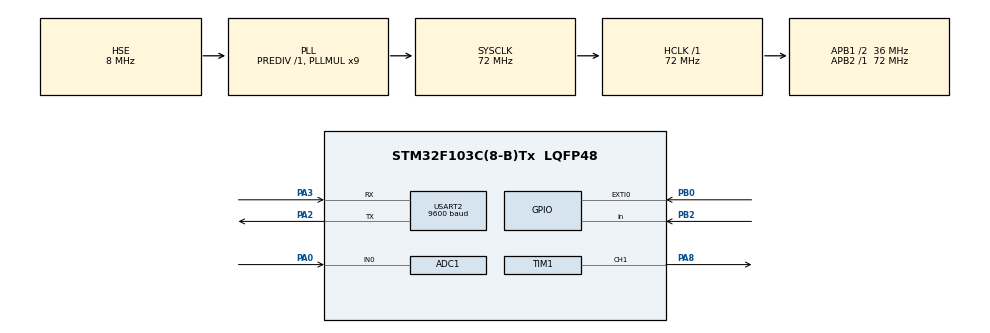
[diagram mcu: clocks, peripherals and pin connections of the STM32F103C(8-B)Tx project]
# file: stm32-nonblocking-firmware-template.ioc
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ADC1.Channel-1\#ChannelRegularConversion=ADC_CHANNEL_0
ADC1.NbrOfConversionFlag=1
ADC1.Rank-1\#ChannelRegularConversion=1
ADC1.SamplingTime-1\#ChannelRegularConversion=ADC_SAMPLETIME_1CYCLE_5
ADC1.master=1
Mcu.Family=STM32F1
Mcu.Name=STM32F103C(8-B)Tx
Mcu.Package=LQFP48
NVIC.ADC1_2_IRQn=true\:0\:0\:false\:false\:true\:true\:true\:true
NVIC.PriorityGroup=NVIC_PRIORITYGROUP_4
NVIC.USART2_IRQn=true\:0\:0\:false\:false\:true\:true\:true\:true
PA0-WKUP.Signal=ADCx_IN0
PA13.Mode=Serial_Wire
PA13.Signal=SYS_JTMS-SWDIO
PA14.Mode=Serial_Wire
PA14.Signal=SYS_JTCK-SWCLK
PA2.Mode=Asynchronous
PA2.Signal=USART2_TX
PA3.Mode=Asynchronous
PA3.Signal=USART2_RX
PA8.Signal=S_TIM1_CH1
PB0.GPIO_ModeDefaultEXTI=GPIO_MODE_IT_FALLING
PB0.GPIO_PuPd=GPIO_PULLUP
PB0.Signal=GPXTI0
PB2.GPIO_PuPd=GPIO_PULLUP
PB2.Signal=GPIO_Input
PD0-OSC_IN.Mode=HSE-External-Oscillator
PD0-OSC_IN.Signal=RCC_OSC_IN
PD1-OSC_OUT.Mode=HSE-External-Oscillator
PD1-OSC_OUT.Signal=RCC_OSC_OUT
ProjectManager.HeapSize=0x200
ProjectManager.StackSize=0x400
ProjectManager.TargetToolchain=STM32CubeIDE
RCC.ADCPresc=RCC_ADCPCLK2_DIV6
RCC.AHBFreq_Value=72000000
RCC.APB1CLKDivider=RCC_HCLK_DIV2
RCC.APB1Freq_Value=36000000
RCC.APB1TimFreq_Value=72000000
RCC.APB2Freq_Value=72000000
RCC.APB2TimFreq_Value=72000000
RCC.HCLKFreq_Value=72000000
RCC.PLLMUL=RCC_PLL_MUL9
RCC.PLLSourceVirtual=RCC_PLLSOURCE_HSE
RCC.SYSCLKFreq_VALUE=72000000
RCC.SYSCLKSource=RCC_SYSCLKSOURCE_PLLCLK
RCC.USBFreq_Value=72000000
SH.ADCx_IN0.0=ADC1_IN0,IN0
SH.S_TIM1_CH1.0=TIM1_CH1,PWM Generation1 CH1
TIM1.Channel-PWM\ Generation1\ CH1=TIM_CHANNEL_1
TIM1.Period=255
TIM1.Prescaler=55
TIM1.Pulse-PWM\ Generation1\ CH1=128
USART2.BaudRate=9600
USART2.VirtualMode=VM_ASYNC
VP_TIM1_VS_ClockSourceINT.Mode=Internal
board=custom

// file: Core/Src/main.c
/* USER CODE BEGIN Header */
/**
  ******************************************************************************
  * @file           : main.c
  * @brief          : Main program body
  ******************************************************************************
  * @attention
  *
  * Copyright (c) 2026 STMicroelectronics.
  * All rights reserved.
  *
  * This software is licensed under terms that can be found in the LICENSE file
  * in the root directory of this software component.
  * If no LICENSE file comes with this software, it is provided AS-IS.
  *
  ******************************************************************************
  */
/* USER CODE END Header */
#include "main.h"

/* USER CODE BEGIN PD */
/* Конфігурація циклічного буфера UART */
#define BUFFER_SIZE         20

/* Налаштування періодів відправки по UART (у мілісекундах) */
#define TX_PERIOD_NORMAL    1000  // Нормальний режим: 1 раз на секунду
#define TX_PERIOD_FAST      500   // Прискорений режим: 2 рази на секунду

/* Конфігурація адрес Flash-пам'яті */
#define FLASH_READ_ADDR_1   0x0800FC00
#define FLASH_READ_ADDR_2   0x0800FC01
#define FLASH_ERASE_PAGE    0x0800FC00  // Для F1 це початок 63-ї сторінки
#define FLASH_WRITE_ADDR    0x0800FC02
#define FLASH_DATA_TO_WRITE 0xEEAA      // Об'єднані байти 0xAA та 0xEE
/* USER CODE END PD */

ADC_HandleTypeDef hadc1;

TIM_HandleTypeDef htim1;

UART_HandleTypeDef huart2;

/* USER CODE BEGIN PV */
// Оголошуємо глобальні змінні для зберігання зчитаних байтів
uint8_t flash_val1 = 0;
uint8_t flash_val2 = 0;

volatile uint8_t rx_buffer[BUFFER_SIZE] = {0}; // Циклічний буфер на 20 байт
volatile int8_t rx_index = -1;  // Індекс останньої заповненої комірки (-1 — буфер порожній)
volatile uint8_t rx_byte=0; // Прийнятий байт

uint32_t last_tx_time = 0; // Для зберігання часу останньої відправки
uint32_t tx_period = TX_PERIOD_NORMAL; // Період відправки (1 секунда за замовчуванням)

volatile uint16_t adc_result = 0;   // 12-бітний замір adc
volatile uint8_t adc_ready_flag = 0; // Прапорець готовності даних
/* USER CODE END PV */

void SystemClock_Config(void);
static void MX_GPIO_Init(void);
static void MX_ADC1_Init(void);
static void MX_TIM1_Init(void);
static void MX_USART2_UART_Init(void);

int main(void)
{

  /* MCU Configuration--------------------------------------------------------*/

  /* Reset of all peripherals, Initializes the Flash interface and the Systick. */
  HAL_Init();

  /* Configure the system clock */
  SystemClock_Config();

  /* Initialize all configured peripherals */
  MX_GPIO_Init();
  MX_ADC1_Init();
  MX_TIM1_Init();
  MX_USART2_UART_Init();
  /* USER CODE BEGIN 2 */

  // При старті мікроконтролера зчитуємо два байти:
  flash_val1 = *(__IO uint8_t*)FLASH_READ_ADDR_1;
  flash_val2 = *(__IO uint8_t*)FLASH_READ_ADDR_2;

  //Запис двох байтів
  //(об'єднали 0xAA та 0xEE в одне 16-бітне число 0xEEAA, адреса 0x0800FC02)
  // Оголошуємо статус виконання операцій
  HAL_StatusTypeDef flash_status = HAL_OK;

  // 1. Розблокуємо можливість запису у Flash-пам'ять
  HAL_FLASH_Unlock();

  // 2. Налаштовуємо структуру для стирання сторінки
  FLASH_EraseInitTypeDef eraseConfig;
  eraseConfig.TypeErase = FLASH_TYPEERASE_PAGES; // Вказуємо, що перемо сторінками
  eraseConfig.PageAddress = FLASH_ERASE_PAGE;  // Адреса сторінки, яку треба стерти
  eraseConfig.NbPages = 1;                       // Кількість сторінок для стирання (всього 1)

  uint32_t pageError = 0; // Змінна для адреса помилки, якщо стирання не відбудеться

  // Викликаємо функцію стирання сторінки
  if (HAL_FLASHEx_Erase(&eraseConfig, &pageError) == HAL_OK)
  {
      // Якщо сторінка успішно стерлася можна записувати дані
      flash_status = HAL_FLASH_Program(FLASH_TYPEPROGRAM_HALFWORD, FLASH_WRITE_ADDR, FLASH_DATA_TO_WRITE);
  }

  // Обробка помилок Flash за ТЗ
  if (flash_status != HAL_OK) {
      uint32_t flash_error = HAL_FLASH_GetError();
      (void)flash_error; // Заглушка для компілятора, щоб не було Warning
  }

  HAL_FLASH_Lock(); // Разблокуємо Flash

  // Запускаємо перший прийом по UART перед циклом
  HAL_UART_Receive_IT(&huart2, (uint8_t*)&rx_byte, 1);

  // Start PWM signal on timer 1, channel 1
  HAL_TIM_PWM_Start(&htim1, TIM_CHANNEL_1); // Фізично запускаємо генерацію ШІМ на PA8

  /* USER CODE END 2 */

  /* Infinite loop */
  /* USER CODE BEGIN WHILE */
  while (1)
  {

		// 1. Перевірка входу PB2 (зміна частоти відправки)
		if (HAL_GPIO_ReadPin(GPIOB, GPIO_PIN_2) == GPIO_PIN_RESET)
		{
		    tx_period = TX_PERIOD_FAST;  // Якщо натиснуто (0) — відправляємо двічі на секунду (500 мс)
		}
		else
		{
		    tx_period = TX_PERIOD_NORMAL; // Якщо відпущено (1) — відправляємо раз на секунду (1000 мс)
		}

		// 2. Неблокуючий програмний таймер відправки в UART
		if ((HAL_GetTick() - last_tx_time) >= tx_period)
		{
		    last_tx_time = HAL_GetTick(); // Оновлюємо час останньої події

		    // Формуємо масив із двох сирих байтів, які ми зчитали з Flash при старті
		    uint8_t msg_data[2] = {flash_val1, flash_val2};

		    // Відправляємо сирі байти без ASCII-кодування
		    HAL_UART_Transmit(&huart2, msg_data, 2, 10);
		}

    /* USER CODE END WHILE */

  }
}

void SystemClock_Config(void)
{
  RCC_OscInitTypeDef RCC_OscInitStruct = {0};
  RCC_ClkInitTypeDef RCC_ClkInitStruct = {0};
  RCC_PeriphCLKInitTypeDef PeriphClkInit = {0};

  /** Initializes the RCC Oscillators according to the specified parameters
  * in the RCC_OscInitTypeDef structure.
  */
  RCC_OscInitStruct.OscillatorType = RCC_OSCILLATORTYPE_HSE;
  RCC_OscInitStruct.HSEState = RCC_HSE_ON;
  RCC_OscInitStruct.HSEPredivValue = RCC_HSE_PREDIV_DIV1;
  RCC_OscInitStruct.HSIState = RCC_HSI_ON;
  RCC_OscInitStruct.PLL.PLLState = RCC_PLL_ON;
  RCC_OscInitStruct.PLL.PLLSource = RCC_PLLSOURCE_HSE;
  RCC_OscInitStruct.PLL.PLLMUL = RCC_PLL_MUL9;
  if (HAL_RCC_OscConfig(&RCC_OscInitStruct) != HAL_OK)
  {
    Error_Handler();
  }

  /** Initializes the CPU, AHB and APB buses clocks
  */
  RCC_ClkInitStruct.ClockType = RCC_CLOCKTYPE_HCLK|RCC_CLOCKTYPE_SYSCLK
                              |RCC_CLOCKTYPE_PCLK1|RCC_CLOCKTYPE_PCLK2;
  RCC_ClkInitStruct.SYSCLKSource = RCC_SYSCLKSOURCE_PLLCLK;
  RCC_ClkInitStruct.AHBCLKDivider = RCC_SYSCLK_DIV1;
  RCC_ClkInitStruct.APB1CLKDivider = RCC_HCLK_DIV2;
  RCC_ClkInitStruct.APB2CLKDivider = RCC_HCLK_DIV1;

  if (HAL_RCC_ClockConfig(&RCC_ClkInitStruct, FLASH_LATENCY_2) != HAL_OK)
  {
    Error_Handler();
  }
  PeriphClkInit.PeriphClockSelection = RCC_PERIPHCLK_ADC;
  PeriphClkInit.AdcClockSelection = RCC_ADCPCLK2_DIV6;
  if (HAL_RCCEx_PeriphCLKConfig(&PeriphClkInit) != HAL_OK)
  {
    Error_Handler();
  }
}

static void MX_ADC1_Init(void)
{

  ADC_ChannelConfTypeDef sConfig = {0};

  /** Common config
  */
  hadc1.Instance = ADC1;
  hadc1.Init.ScanConvMode = ADC_SCAN_DISABLE;
  hadc1.Init.ContinuousConvMode = DISABLE;
  hadc1.Init.DiscontinuousConvMode = DISABLE;
  hadc1.Init.ExternalTrigConv = ADC_SOFTWARE_START;
  hadc1.Init.DataAlign = ADC_DATAALIGN_RIGHT;
  hadc1.Init.NbrOfConversion = 1;
  if (HAL_ADC_Init(&hadc1) != HAL_OK)
  {
    Error_Handler();
  }

  /** Configure Regular Channel
  */
  sConfig.Channel = ADC_CHANNEL_0;
  sConfig.Rank = ADC_REGULAR_RANK_1;
  sConfig.SamplingTime = ADC_SAMPLETIME_1CYCLE_5;
  if (HAL_ADC_ConfigChannel(&hadc1, &sConfig) != HAL_OK)
  {
    Error_Handler();
  }

}

static void MX_TIM1_Init(void)
{

  TIM_ClockConfigTypeDef sClockSourceConfig = {0};
  TIM_MasterConfigTypeDef sMasterConfig = {0};
  TIM_OC_InitTypeDef sConfigOC = {0};
  TIM_BreakDeadTimeConfigTypeDef sBreakDeadTimeConfig = {0};

  htim1.Instance = TIM1;
  htim1.Init.Prescaler = 55;
  htim1.Init.CounterMode = TIM_COUNTERMODE_UP;
  htim1.Init.Period = 255;
  htim1.Init.ClockDivision = TIM_CLOCKDIVISION_DIV1;
  htim1.Init.RepetitionCounter = 0;
  htim1.Init.AutoReloadPreload = TIM_AUTORELOAD_PRELOAD_DISABLE;
  if (HAL_TIM_Base_Init(&htim1) != HAL_OK)
  {
    Error_Handler();
  }
  sClockSourceConfig.ClockSource = TIM_CLOCKSOURCE_INTERNAL;
  if (HAL_TIM_ConfigClockSource(&htim1, &sClockSourceConfig) != HAL_OK)
  {
    Error_Handler();
  }
  if (HAL_TIM_PWM_Init(&htim1) != HAL_OK)
  {
    Error_Handler();
  }
  sMasterConfig.MasterOutputTrigger = TIM_TRGO_RESET;
  sMasterConfig.MasterSlaveMode = TIM_MASTERSLAVEMODE_DISABLE;
  if (HAL_TIMEx_MasterConfigSynchronization(&htim1, &sMasterConfig) != HAL_OK)
  {
    Error_Handler();
  }
  sConfigOC.OCMode = TIM_OCMODE_PWM1;
  sConfigOC.Pulse = 128;
  sConfigOC.OCPolarity = TIM_OCPOLARITY_HIGH;
  sConfigOC.OCNPolarity = TIM_OCNPOLARITY_HIGH;
  sConfigOC.OCFastMode = TIM_OCFAST_DISABLE;
  sConfigOC.OCIdleState = TIM_OCIDLESTATE_RESET;
  sConfigOC.OCNIdleState = TIM_OCNIDLESTATE_RESET;
  if (HAL_TIM_PWM_ConfigChannel(&htim1, &sConfigOC, TIM_CHANNEL_1) != HAL_OK)
  {
    Error_Handler();
  }
  sBreakDeadTimeConfig.OffStateRunMode = TIM_OSSR_DISABLE;
  sBreakDeadTimeConfig.OffStateIDLEMode = TIM_OSSI_DISABLE;
  sBreakDeadTimeConfig.LockLevel = TIM_LOCKLEVEL_OFF;
  sBreakDeadTimeConfig.DeadTime = 0;
  sBreakDeadTimeConfig.BreakState = TIM_BREAK_DISABLE;
  sBreakDeadTimeConfig.BreakPolarity = TIM_BREAKPOLARITY_HIGH;
  sBreakDeadTimeConfig.AutomaticOutput = TIM_AUTOMATICOUTPUT_DISABLE;
  if (HAL_TIMEx_ConfigBreakDeadTime(&htim1, &sBreakDeadTimeConfig) != HAL_OK)
  {
    Error_Handler();
  }
  HAL_TIM_MspPostInit(&htim1);

}

static void MX_USART2_UART_Init(void)
{

  huart2.Instance = USART2;
  huart2.Init.BaudRate = 9600;
  huart2.Init.WordLength = UART_WORDLENGTH_8B;
  huart2.Init.StopBits = UART_STOPBITS_1;
  huart2.Init.Parity = UART_PARITY_NONE;
  huart2.Init.Mode = UART_MODE_TX_RX;
  huart2.Init.HwFlowCtl = UART_HWCONTROL_NONE;
  huart2.Init.OverSampling = UART_OVERSAMPLING_16;
  if (HAL_UART_Init(&huart2) != HAL_OK)
  {
    Error_Handler();
  }

}

static void MX_GPIO_Init(void)
{
  GPIO_InitTypeDef GPIO_InitStruct = {0};

  /* GPIO Ports Clock Enable */
  __HAL_RCC_GPIOD_CLK_ENABLE();
  __HAL_RCC_GPIOA_CLK_ENABLE();
  __HAL_RCC_GPIOB_CLK_ENABLE();

  /*Configure GPIO pin : PB0 */
  GPIO_InitStruct.Pin = GPIO_PIN_0;
  GPIO_InitStruct.Mode = GPIO_MODE_IT_FALLING;
  GPIO_InitStruct.Pull = GPIO_PULLUP;
  HAL_GPIO_Init(GPIOB, &GPIO_InitStruct);

  /*Configure GPIO pin : PB2 */
  GPIO_InitStruct.Pin = GPIO_PIN_2;
  GPIO_InitStruct.Mode = GPIO_MODE_INPUT;
  GPIO_InitStruct.Pull = GPIO_PULLUP;
  HAL_GPIO_Init(GPIOB, &GPIO_InitStruct);

}

/* USER CODE BEGIN 4 */

// Обробник переривання UART - запис у кільцевий буфер
void HAL_UART_RxCpltCallback(UART_HandleTypeDef *huart)
{
    if (huart->Instance == USART2)
    {
        // 1. Вираховуємо наступний індекс у кільці (перехід від 0 до 19)
        rx_index = (rx_index + 1) % BUFFER_SIZE;
        // 2. Записуємо прийнятий байт у буфер
        rx_buffer[rx_index] = rx_byte;
        // 3. Одразу оновлюємо ШІМ
        __HAL_TIM_SET_COMPARE(&htim1, TIM_CHANNEL_1, rx_byte);
        // 4. Перезапускаємо прийом наступного байта
        HAL_UART_Receive_IT(&huart2, (uint8_t*)&rx_byte, 1);
    }
}

// Обробка помилок UART за вимогами ТЗ
void HAL_UART_ErrorCallback(UART_HandleTypeDef *huart)
{
    if (huart->Instance == USART2)
    {
          uint32_t error_code = HAL_UART_GetError(huart);
          (void)error_code;
          HAL_UART_Receive_IT(&huart2, (uint8_t*)&rx_byte, 1); // Перезапуск після збою
   }
}

//Обробник переривання кнопки (EXTI0)
void HAL_GPIO_EXTI_Callback(uint16_t GPIO_Pin)
{
    // Перевіряємо, що переривання саме від піна PB0
    if (GPIO_Pin == GPIO_PIN_0)
    {
        HAL_ADC_Start_IT(&hadc1); // Неблокуючий запуск adc (канал IN0 на PA0 за ТЗ)
    }
}

//Обробник завершення заміру adc (Conversion Complete Callback)
void HAL_ADC_ConvCpltCallback(ADC_HandleTypeDef* hadc)
{
    if (hadc->Instance == ADC1)
    {
        // Зчитуємо готове 12-бітне значення з регістру даних АЦП
        adc_result = HAL_ADC_GetValue(hadc);

        // Піднімаємо прапорець можливості використання даних
        adc_ready_flag = 1;
    }
}

/* USER CODE END 4 */

void Error_Handler(void)
{
  __disable_irq();
  while (1)
  {
  }
}
